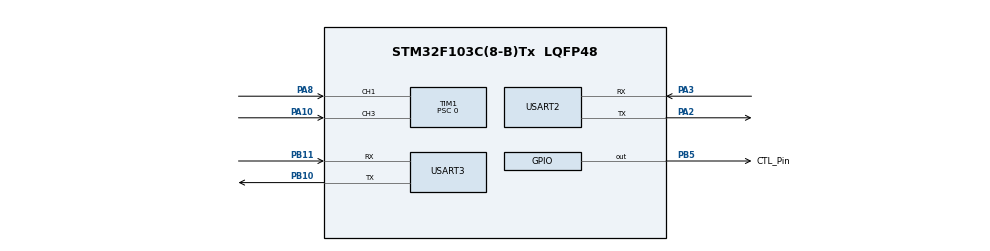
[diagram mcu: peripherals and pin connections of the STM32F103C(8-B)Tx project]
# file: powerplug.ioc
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Dma.Request0=USART3_RX
Dma.Request1=USART3_TX
Dma.USART3_RX.0.Direction=DMA_PERIPH_TO_MEMORY
Dma.USART3_RX.0.Instance=DMA1_Channel3
Dma.USART3_RX.0.MemDataAlignment=DMA_MDATAALIGN_BYTE
Dma.USART3_RX.0.MemInc=DMA_MINC_ENABLE
Dma.USART3_RX.0.Mode=DMA_NORMAL
Dma.USART3_RX.0.PeriphDataAlignment=DMA_PDATAALIGN_BYTE
Dma.USART3_RX.0.PeriphInc=DMA_PINC_DISABLE
Dma.USART3_RX.0.Priority=DMA_PRIORITY_LOW
Dma.USART3_TX.1.Direction=DMA_MEMORY_TO_PERIPH
Dma.USART3_TX.1.Instance=DMA1_Channel2
Dma.USART3_TX.1.MemDataAlignment=DMA_MDATAALIGN_BYTE
Dma.USART3_TX.1.MemInc=DMA_MINC_ENABLE
Dma.USART3_TX.1.Mode=DMA_NORMAL
Dma.USART3_TX.1.PeriphDataAlignment=DMA_PDATAALIGN_BYTE
Dma.USART3_TX.1.PeriphInc=DMA_PINC_DISABLE
Dma.USART3_TX.1.Priority=DMA_PRIORITY_LOW
Mcu.Family=STM32F1
Mcu.Name=STM32F103C(8-B)Tx
Mcu.Package=LQFP48
NVIC.DMA1_Channel2_IRQn=true\:0\:0\:false\:false\:true\:false
NVIC.DMA1_Channel3_IRQn=true\:0\:0\:false\:false\:true\:false
NVIC.PriorityGroup=NVIC_PRIORITYGROUP_4
NVIC.TIM1_BRK_IRQn=true\:0\:0\:false\:false\:true\:true
NVIC.TIM1_CC_IRQn=true\:0\:0\:false\:false\:true\:true
NVIC.TIM1_TRG_COM_IRQn=true\:0\:0\:false\:false\:true\:true
NVIC.TIM1_UP_IRQn=true\:0\:0\:false\:false\:true\:true
NVIC.USART3_IRQn=true\:0\:0\:false\:false\:true\:true
PA10.Signal=S_TIM1_CH3
PA13.Mode=Serial_Wire
PA13.Signal=SYS_JTMS-SWDIO
PA14.Mode=Serial_Wire
PA14.Signal=SYS_JTCK-SWCLK
PA2.Mode=Asynchronous
PA2.Signal=USART2_TX
PA3.Mode=Asynchronous
PA3.Signal=USART2_RX
PA8.Signal=S_TIM1_CH1
PB10.Mode=Asynchronous
PB10.Signal=USART3_TX
PB11.Mode=Asynchronous
PB11.Signal=USART3_RX
PB5.GPIO_Label=CTL_Pin
PB5.Signal=GPIO_Output
PB5.Stacked=true
ProjectManager.HeapSize=0x200
ProjectManager.StackSize=0x400
ProjectManager.TargetToolchain=MDK-ARM V5
RCC.APB1Freq_Value=8000000
RCC.APB2Freq_Value=8000000
SH.S_TIM1_CH1.0=TIM1_CH1,TriggerSource_TI1FP1
SH.S_TIM1_CH1.1=TIM1_CH1,Input_Capture1_from_TI1
SH.S_TIM1_CH1.2=TIM1_CH1,Input_Capture2_from_TI1
SH.S_TIM1_CH3.0=TIM1_CH3,Input_Capture3_from_TI3
SH.S_TIM1_CH3.1=TIM1_CH3,Input_Capture4_from_TI3
TIM1.Channel-Input_Capture1_from_TI1=TIM_CHANNEL_1
TIM1.Channel-Input_Capture2_from_TI1=TIM_CHANNEL_2
TIM1.Channel-Input_Capture3_from_TI3=TIM_CHANNEL_3
TIM1.Channel-Input_Capture4_from_TI3=TIM_CHANNEL_4
TIM1.Period=65535
TIM1.Prescaler=0
USART2.VirtualMode=VM_ASYNC
USART3.VirtualMode=VM_ASYNC
VP_TIM1_VS_ClockSourceINT.Mode=Internal
VP_TIM1_VS_ControllerModeReset.Mode=Reset Mode
board=custom

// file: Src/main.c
/**
  ******************************************************************************
  * @file           : main.c
  * @brief          : Main program body
  ******************************************************************************
  ** This notice applies to any and all portions of this file
  * that are not between comment pairs USER CODE BEGIN and
  * USER CODE END. Other portions of this file, whether
  * inserted by the user or by software development tools
  * are owned by their respective copyright owners.
  *
  * COPYRIGHT(c) 2018 STMicroelectronics
  *
  * Redistribution and use in source and binary forms, with or without modification,
  * are permitted provided that the following conditions are met:
  *   1. Redistributions of source code must retain the above copyright notice,
  *      this list of conditions and the following disclaimer.
  *   2. Redistributions in binary form must reproduce the above copyright notice,
  *      this list of conditions and the following disclaimer in the documentation
  *      and/or other materials provided with the distribution.
  *   3. Neither the name of STMicroelectronics nor the names of its contributors
  *      may be used to endorse or promote products derived from this software
  *      without specific prior written permission.
  *
  * THIS SOFTWARE IS PROVIDED BY THE COPYRIGHT HOLDERS AND CONTRIBUTORS "AS IS"
  * AND ANY EXPRESS OR IMPLIED WARRANTIES, INCLUDING, BUT NOT LIMITED TO, THE
  * IMPLIED WARRANTIES OF MERCHANTABILITY AND FITNESS FOR A PARTICULAR PURPOSE ARE
  * DISCLAIMED. IN NO EVENT SHALL THE COPYRIGHT HOLDER OR CONTRIBUTORS BE LIABLE
  * FOR ANY DIRECT, INDIRECT, INCIDENTAL, SPECIAL, EXEMPLARY, OR CONSEQUENTIAL
  * DAMAGES (INCLUDING, BUT NOT LIMITED TO, PROCUREMENT OF SUBSTITUTE GOODS OR
  * SERVICES; LOSS OF USE, DATA, OR PROFITS; OR BUSINESS INTERRUPTION) HOWEVER
  * CAUSED AND ON ANY THEORY OF LIABILITY, WHETHER IN CONTRACT, STRICT LIABILITY,
  * OR TORT (INCLUDING NEGLIGENCE OR OTHERWISE) ARISING IN ANY WAY OUT OF THE USE
  * OF THIS SOFTWARE, EVEN IF ADVISED OF THE POSSIBILITY OF SUCH DAMAGE.
  *
  ******************************************************************************
  */
#include "main.h"
#include "stm32f1xx_hal.h"

TIM_HandleTypeDef htim1;

UART_HandleTypeDef huart2;
UART_HandleTypeDef huart3;
DMA_HandleTypeDef hdma_usart3_rx;
DMA_HandleTypeDef hdma_usart3_tx;

/* USER CODE BEGIN PV */
/* Private variables ---------------------------------------------------------*/

/* USER CODE END PV */

void SystemClock_Config(void);
static void MX_GPIO_Init(void);
static void MX_DMA_Init(void);
static void MX_USART2_UART_Init(void);
static void MX_TIM1_Init(void);
static void MX_USART3_UART_Init(void);

/* USER CODE BEGIN PFP */
/* Private function prototypes -----------------------------------------------*/

/* USER CODE END PFP */

/* USER CODE BEGIN 0 */
extern uint8_t send_data_to_esp8266(char *fmt, ...);

#define PUTCHAR_PROTOTYPE int fputc(int ch, FILE *f)
PUTCHAR_PROTOTYPE
{
    HAL_UART_Transmit(&huart2, (uint8_t *)&ch, 1, 0xFFFF);
    return ch;
}

uint32_t               uwIC2Value1 = 0;
uint32_t               uwIC2Value2 = 0;
uint32_t               uwDiffCapture = 0;

/* Private variables ---------------------------------------------------------*/
/* Captured Value */
uint16_t            uhIC2Value = 0;
/* Duty Cycle Value */
uint16_t            uhDutyCycle = 0;
/* Frequency Value */
uint32_t            uwFrequency = 0;
/* Duty Cycle Value */
uint16_t            uhDutyCycle2 = 0;
/* Frequency Value */
uint32_t            uwFrequency2 = 0;
uint8_t             temp_ch=0x55;

uint8_t  usart3_rx_flag = 0;
uint8_t  usart3_rx_buffer[128];
uint8_t  usart3_tx_buffer[128];
uint16_t usart3_tx_len = 0;
uint16_t send_count=0;

_Bool NET_DEVICE_SendCmd(char *cmd, char *res, _Bool mode)
{
	unsigned char timeOut = 200;
	//dma_send(ptr, len1);
	//NET_IO_Send((unsigned char *)cmd, strlen((const char *)cmd));	//写命令到网络设备
	dma_send((unsigned char *)cmd, strlen((const char *)cmd));
	printf("%s\r\n",cmd);
	while(timeOut--)
	{
		if(strstr(usart3_tx_buffer,res)!=NULL)
		{

			return 0;
		}
		HAL_Delay(10);
	}
	return 1;
}

char thousand_char;
char hundred_char;
char deci_char;
char last_char;
char value2str[10];
void value2string(int value)
{
	//char temp_str[128];
	int temp_value;
	if(value/10000!=0)
	{
		return ;
	}
	else if(value/10000==0)//below 10000
	{
		thousand_char=value/1000+0x30;//thousand
		temp_value=value%1000; // hundred deci etc

		if(temp_value/100!=0)
		{
			hundred_char=temp_value/100+0x30;
		}
		else if(temp_value/100==0)
		{
			hundred_char=0x30;
		}
		temp_value=value%100; //deci etc;

		if(temp_value/10!=0)
		{
			deci_char=temp_value/10+0x30;
		}
		else if(temp_value/10==0)
		{
			deci_char=0x30;
		}
		last_char=value%10+0x30;
	}

	value2str[0]=thousand_char;
	value2str[1]=hundred_char;
	value2str[2]=deci_char;
	value2str[3]=last_char;
	value2str[4]=' ';
	value2str[5]=' ';
	//value2str[4]='\r';
	//value2str[5]='\n';
	value2str[6]='\0';

}
/* USER CODE END 0 */

int main(void)
{

  /* MCU Configuration----------------------------------------------------------*/

  /* Reset of all peripherals, Initializes the Flash interface and the Systick. */
  HAL_Init();

  /* Configure the system clock */
  SystemClock_Config();

  /* Initialize all configured peripherals */
  MX_GPIO_Init();
  MX_DMA_Init();
  MX_USART2_UART_Init();
  MX_TIM1_Init();
  MX_USART3_UART_Init();
  /* USER CODE BEGIN 2 */
  printf("sichuan university wsn lab\r\n");
  printf("project powerplug v1.0\r\n");
  printf("compile date: %s %s\r\n",__DATE__,__TIME__);

  if(HAL_TIM_IC_Start_IT(&htim1, TIM_CHANNEL_1) != HAL_OK)
  {
    /* Starting Error */
    Error_Handler();
  }
  if(HAL_TIM_IC_Start_IT(&htim1, TIM_CHANNEL_2) != HAL_OK)
  {
    /* Starting Error */
    Error_Handler();
  }
  if(HAL_TIM_IC_Start_IT(&htim1, TIM_CHANNEL_3) != HAL_OK)
  {
    /* Starting Error */
    Error_Handler();
  }

  //uart3 receive dma wifi at command
  if(HAL_UART_Receive_DMA(&huart3,(uint8_t *)&usart3_rx_buffer,128) != HAL_OK)
	{
    Error_Handler();
	}

	//enable uart3 idle interrupt
  __HAL_UART_ENABLE_IT(&huart3, UART_IT_IDLE);
	//CWMODE_DEF =1
	NET_DEVICE_SendCmd("AT+CWMODE_DEF=1\r\n", "OK", 1);
	//CWJAP
	NET_DEVICE_SendCmd("AT+CWJAP_DEF=\"WSN405\",\"wsn405405\"\r\n", "OK", 1);
	//NET_DEVICE_SendCmd("AT+CWJAP_DEF=\"WSN407\",\"wsn407407\"\r\n", "OK", 1);
	HAL_Delay(3000);
	//NET_DEVICE_SendCmd("AT+CIPSTART=\"TCP\",\"192.168.199.102\",8080\r\n", "OK", 1);
	NET_DEVICE_SendCmd("AT+CIPSTART=\"TCP\",\"192.168.199.244\",1234\r\n", "OK", 1);
	//the length of data which be sent
	NET_DEVICE_SendCmd("AT+CIPSEND=7\r\n", "OK", 1);
  //the data content
	NET_DEVICE_SendCmd("abcde\r\n", "OK", 1);

  /* USER CODE END 2 */

  /* Infinite loop */
  while (1)
  {

  /* USER CODE BEGIN 3 */
		NET_DEVICE_SendCmd("AT+CIPSEND=7\r\n", "OK", 1);
		//NET_DEVICE_SendCmd("67890\r\n", "OK", 1);
		//the data content
		dma_send(value2str, 7);
		HAL_Delay(200);

		send_count++;
		HAL_Delay(5);
		if(send_count>=1)
		{
			send_count=0;
			printf("PA8 CF1 voltage uwFrequency=%d\r\n",uwFrequency);
			printf("PA10 CF power  uwFrequency2=%d\r\n",uwFrequency2);
			uwFrequency=0;uwFrequency2=0;
			HAL_Delay(5);
			printf("\r\n");
		}
		value2string(uwFrequency);

		if(usart3_rx_flag==1)
		{
			usart3_rx_flag=0;
			printf("Received:%s\r\n",usart3_tx_buffer);
			memset(usart3_tx_buffer,0x00,128);
		}

  }
  /* USER CODE END 3 */

}

void SystemClock_Config(void)
{

  RCC_OscInitTypeDef RCC_OscInitStruct;
  RCC_ClkInitTypeDef RCC_ClkInitStruct;

    /**Initializes the CPU, AHB and APB busses clocks
    */
  RCC_OscInitStruct.OscillatorType = RCC_OSCILLATORTYPE_HSI;
  RCC_OscInitStruct.HSIState = RCC_HSI_ON;
  RCC_OscInitStruct.HSICalibrationValue = 16;
  RCC_OscInitStruct.PLL.PLLState = RCC_PLL_NONE;
  if (HAL_RCC_OscConfig(&RCC_OscInitStruct) != HAL_OK)
  {
    _Error_Handler(__FILE__, __LINE__);
  }

    /**Initializes the CPU, AHB and APB busses clocks
    */
  RCC_ClkInitStruct.ClockType = RCC_CLOCKTYPE_HCLK|RCC_CLOCKTYPE_SYSCLK
                              |RCC_CLOCKTYPE_PCLK1|RCC_CLOCKTYPE_PCLK2;
  RCC_ClkInitStruct.SYSCLKSource = RCC_SYSCLKSOURCE_HSI;
  RCC_ClkInitStruct.AHBCLKDivider = RCC_SYSCLK_DIV1;
  RCC_ClkInitStruct.APB1CLKDivider = RCC_HCLK_DIV1;
  RCC_ClkInitStruct.APB2CLKDivider = RCC_HCLK_DIV1;

  if (HAL_RCC_ClockConfig(&RCC_ClkInitStruct, FLASH_LATENCY_0) != HAL_OK)
  {
    _Error_Handler(__FILE__, __LINE__);
  }

    /**Configure the Systick interrupt time
    */
  HAL_SYSTICK_Config(HAL_RCC_GetHCLKFreq()/1000);

    /**Configure the Systick
    */
  HAL_SYSTICK_CLKSourceConfig(SYSTICK_CLKSOURCE_HCLK);

  /* SysTick_IRQn interrupt configuration */
  HAL_NVIC_SetPriority(SysTick_IRQn, 0, 0);
}

/* TIM1 init function */
static void MX_TIM1_Init(void)
{

  TIM_ClockConfigTypeDef sClockSourceConfig;
  TIM_SlaveConfigTypeDef sSlaveConfig;
  TIM_MasterConfigTypeDef sMasterConfig;
  TIM_IC_InitTypeDef sConfigIC;

  htim1.Instance = TIM1;
  htim1.Init.Prescaler = 0;
  htim1.Init.CounterMode = TIM_COUNTERMODE_UP;
  htim1.Init.Period = 65535;
  htim1.Init.ClockDivision = TIM_CLOCKDIVISION_DIV1;
  htim1.Init.RepetitionCounter = 0;
  htim1.Init.AutoReloadPreload = TIM_AUTORELOAD_PRELOAD_DISABLE;
  if (HAL_TIM_Base_Init(&htim1) != HAL_OK)
  {
    _Error_Handler(__FILE__, __LINE__);
  }

  sClockSourceConfig.ClockSource = TIM_CLOCKSOURCE_INTERNAL;
  if (HAL_TIM_ConfigClockSource(&htim1, &sClockSourceConfig) != HAL_OK)
  {
    _Error_Handler(__FILE__, __LINE__);
  }

  if (HAL_TIM_IC_Init(&htim1) != HAL_OK)
  {
    _Error_Handler(__FILE__, __LINE__);
  }

  sSlaveConfig.SlaveMode = TIM_SLAVEMODE_RESET;
  sSlaveConfig.InputTrigger = TIM_TS_TI1FP1;
  sSlaveConfig.TriggerPolarity = TIM_INPUTCHANNELPOLARITY_RISING;
  sSlaveConfig.TriggerFilter = 0;
  if (HAL_TIM_SlaveConfigSynchronization(&htim1, &sSlaveConfig) != HAL_OK)
  {
    _Error_Handler(__FILE__, __LINE__);
  }

  sMasterConfig.MasterOutputTrigger = TIM_TRGO_RESET;
  sMasterConfig.MasterSlaveMode = TIM_MASTERSLAVEMODE_DISABLE;
  if (HAL_TIMEx_MasterConfigSynchronization(&htim1, &sMasterConfig) != HAL_OK)
  {
    _Error_Handler(__FILE__, __LINE__);
  }

  sConfigIC.ICPolarity = TIM_INPUTCHANNELPOLARITY_RISING;
  sConfigIC.ICSelection = TIM_ICSELECTION_DIRECTTI;
  sConfigIC.ICPrescaler = TIM_ICPSC_DIV1;
  sConfigIC.ICFilter = 0;
  if (HAL_TIM_IC_ConfigChannel(&htim1, &sConfigIC, TIM_CHANNEL_1) != HAL_OK)
  {
    _Error_Handler(__FILE__, __LINE__);
  }

  sConfigIC.ICSelection = TIM_ICSELECTION_INDIRECTTI;
  if (HAL_TIM_IC_ConfigChannel(&htim1, &sConfigIC, TIM_CHANNEL_2) != HAL_OK)
  {
    _Error_Handler(__FILE__, __LINE__);
  }

  sConfigIC.ICSelection = TIM_ICSELECTION_DIRECTTI;
  if (HAL_TIM_IC_ConfigChannel(&htim1, &sConfigIC, TIM_CHANNEL_3) != HAL_OK)
  {
    _Error_Handler(__FILE__, __LINE__);
  }

  sConfigIC.ICSelection = TIM_ICSELECTION_INDIRECTTI;
  if (HAL_TIM_IC_ConfigChannel(&htim1, &sConfigIC, TIM_CHANNEL_4) != HAL_OK)
  {
    _Error_Handler(__FILE__, __LINE__);
  }

}

/* USART2 init function */
static void MX_USART2_UART_Init(void)
{

  huart2.Instance = USART2;
  huart2.Init.BaudRate = 115200;
  huart2.Init.WordLength = UART_WORDLENGTH_8B;
  huart2.Init.StopBits = UART_STOPBITS_1;
  huart2.Init.Parity = UART_PARITY_NONE;
  huart2.Init.Mode = UART_MODE_TX_RX;
  huart2.Init.HwFlowCtl = UART_HWCONTROL_NONE;
  huart2.Init.OverSampling = UART_OVERSAMPLING_16;
  if (HAL_UART_Init(&huart2) != HAL_OK)
  {
    _Error_Handler(__FILE__, __LINE__);
  }

}

/* USART3 init function */
static void MX_USART3_UART_Init(void)
{

  huart3.Instance = USART3;
  huart3.Init.BaudRate = 115200;
  huart3.Init.WordLength = UART_WORDLENGTH_8B;
  huart3.Init.StopBits = UART_STOPBITS_1;
  huart3.Init.Parity = UART_PARITY_NONE;
  huart3.Init.Mode = UART_MODE_TX_RX;
  huart3.Init.HwFlowCtl = UART_HWCONTROL_NONE;
  huart3.Init.OverSampling = UART_OVERSAMPLING_16;
  if (HAL_UART_Init(&huart3) != HAL_OK)
  {
    _Error_Handler(__FILE__, __LINE__);
  }

}

static void MX_DMA_Init(void)
{
  /* DMA controller clock enable */
  __HAL_RCC_DMA1_CLK_ENABLE();

  /* DMA interrupt init */
  /* DMA1_Channel2_IRQn interrupt configuration */
  HAL_NVIC_SetPriority(DMA1_Channel2_IRQn, 0, 0);
  HAL_NVIC_EnableIRQ(DMA1_Channel2_IRQn);
  /* DMA1_Channel3_IRQn interrupt configuration */
  HAL_NVIC_SetPriority(DMA1_Channel3_IRQn, 0, 0);
  HAL_NVIC_EnableIRQ(DMA1_Channel3_IRQn);

}

/** Configure pins as
        * Analog
        * Input
        * Output
        * EVENT_OUT
        * EXTI
*/
static void MX_GPIO_Init(void)
{

  GPIO_InitTypeDef GPIO_InitStruct;

  /* GPIO Ports Clock Enable */
  __HAL_RCC_GPIOA_CLK_ENABLE();
  __HAL_RCC_GPIOB_CLK_ENABLE();

  /*Configure GPIO pin Output Level */
  HAL_GPIO_WritePin(CTL_Pin_GPIO_Port, CTL_Pin_Pin, GPIO_PIN_RESET);

  /*Configure GPIO pin : CTL_Pin_Pin */
  GPIO_InitStruct.Pin = CTL_Pin_Pin;
  GPIO_InitStruct.Mode = GPIO_MODE_OUTPUT_PP;
  GPIO_InitStruct.Pull = GPIO_NOPULL;
  GPIO_InitStruct.Speed = GPIO_SPEED_FREQ_LOW;
  HAL_GPIO_Init(CTL_Pin_GPIO_Port, &GPIO_InitStruct);

}

/* USER CODE BEGIN 4 */

void HAL_TIM_IC_CaptureCallback(TIM_HandleTypeDef *htim)
{
	if(htim->Channel == HAL_TIM_ACTIVE_CHANNEL_1)
	{
		uwIC2Value1 = HAL_TIM_ReadCapturedValue(htim, TIM_CHANNEL_1);
		if(uwIC2Value1!=0)
		{
			/* Duty cycle computation */
      uhDutyCycle = ((HAL_TIM_ReadCapturedValue(htim, TIM_CHANNEL_2)) * 100) / uwIC2Value1;
      /* uwFrequency computation
      //TIM4 counter clock = (RCC_Clocks.HCLK_Frequency)/2 */
      uwFrequency = (HAL_RCC_GetHCLKFreq())/2 / uwIC2Value1;
		}
		else
		{
			uhDutyCycle = 0;
      uwFrequency = 0;
		}
	}
	if(htim->Channel == HAL_TIM_ACTIVE_CHANNEL_3)
	{
		uwIC2Value2 = HAL_TIM_ReadCapturedValue(htim, TIM_CHANNEL_3);
		if(uwIC2Value2!=0)
		{
			uhDutyCycle2=((HAL_TIM_ReadCapturedValue(htim, TIM_CHANNEL_2)) * 100) / uwIC2Value2;
			uwFrequency2=(HAL_RCC_GetHCLKFreq())/2 / uwIC2Value2;
		}
		else
		{
			uhDutyCycle2 = 0;
      uwFrequency2 = 0;
		}
	}
}
/* USER CODE END 4 */

void _Error_Handler(char *file, int line)
{
  while(1)
  {
  }
}

/************************ (C) COPYRIGHT STMicroelectronics *****END OF FILE****/
